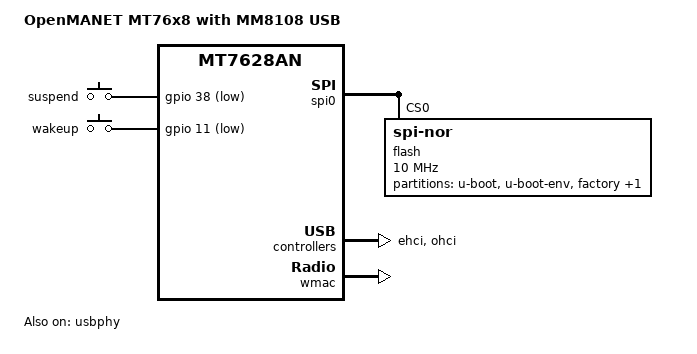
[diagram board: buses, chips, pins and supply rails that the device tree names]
// SPDX-License-Identifier: GPL-2.0-or-later OR MIT

#include "mt7628an.dtsi"

#include <dt-bindings/gpio/gpio.h>
#include <dt-bindings/input/input.h>

/ {
	compatible = "openmanet,mt76x8-mm8108-usb", "mediatek,mt7628an-soc";
	model = "OpenMANET MT76x8 with MM8108 USB";

	keys {
		compatible = "gpio-keys";

		suspend {
			label = "suspend";
			gpios = <&gpio 38 GPIO_ACTIVE_LOW>;
			linux,code = <BTN_0>;
			debounce-interval = <60>;
		};

		wakeup {
			label = "wakeup";
			gpios = <&gpio 11 GPIO_ACTIVE_LOW>;
			linux,code = <BTN_1>;
			debounce-interval = <60>;
			wakeup-source;
		};
	};
};

&state_default {
	gpio {
		groups = "i2c";
		function = "gpio";
	};
};

&spi0 {
	status = "okay";

	flash@0 {
		compatible = "jedec,spi-nor";
		reg = <0>;
		spi-max-frequency = <10000000>;

		partitions {
			compatible = "fixed-partitions";
			#address-cells = <1>;
			#size-cells = <1>;

			partition@0 {
				label = "u-boot";
				reg = <0x0 0x30000>;
				read-only;
			};

			partition@30000 {
				label = "u-boot-env";
				reg = <0x30000 0x10000>;
				read-only;
			};

			partition@40000 {
				label = "factory";
				reg = <0x40000 0x10000>;
				read-only;

				nvmem-layout {
					compatible = "fixed-layout";
					#address-cells = <1>;
					#size-cells = <1>;

					eeprom_factory_0: eeprom@0 {
						reg = <0x0 0x400>;
					};
				};
			};

			partition@50000 {
				compatible = "denx,uimage";
				label = "firmware";
				reg = <0x50000 0x3fb0000>;
			};
		};
	};
};

&usbphy {
	status = "okay";
};

&ehci {
	status = "okay";
};

&ohci {
	status = "okay";
};

&wmac {
	status = "okay";

	nvmem-cells = <&eeprom_factory_0>;
	nvmem-cell-names = "eeprom";
};
